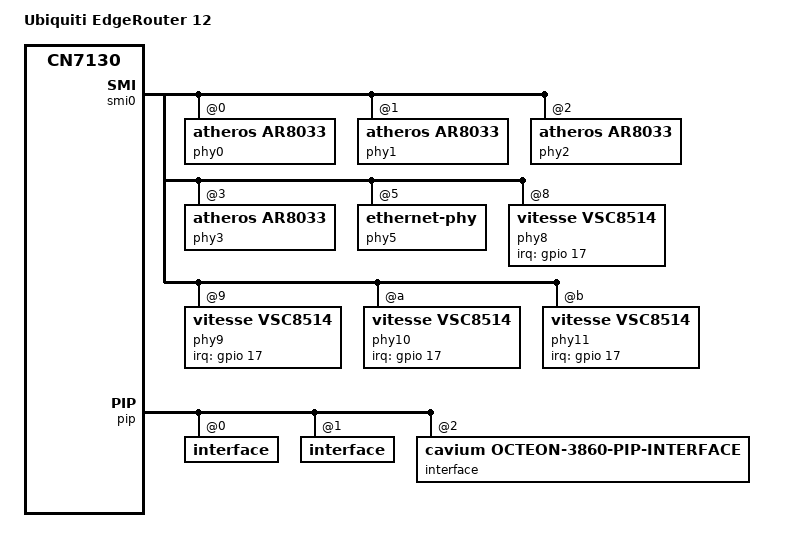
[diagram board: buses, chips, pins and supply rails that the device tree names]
// SPDX-License-Identifier: GPL-2.0-or-later OR MIT

#include "cn7130_ubnt_edgerouter-e300.dtsi"

/ {
	compatible = "ubnt,edgerouter-12", "cavium,cn7130";
	model = "Ubiquiti EdgeRouter 12";
};

&smi0 {
	phy0: ethernet-phy@0 {
		device_type = "ethernet-phy";
		compatible = "atheros,ar8033", "ethernet-phy-ieee802.3-c22";
		cavium,qlm-trim = "6,sgmii";
		reg = <0>;
	};

	phy1: ethernet-phy@1 {
		device_type = "ethernet-phy";
		compatible = "atheros,ar8033", "ethernet-phy-ieee802.3-c22";
		cavium,qlm-trim = "6,sgmii";
		reg = <1>;
	};

	phy2: ethernet-phy@2 {
		device_type = "ethernet-phy";
		compatible = "atheros,ar8033", "ethernet-phy-ieee802.3-c22";
		cavium,qlm-trim = "6,sgmii";
		reg = <2>;
	};

	phy3: ethernet-phy@3 {
		device_type = "ethernet-phy";
		compatible = "atheros,ar8033", "ethernet-phy-ieee802.3-c22";
		cavium,qlm-trim = "6,sgmii";
		reg = <3>;
	};

	phy5: ethernet-phy@5 {
		sfp = <&sfp>;
	};

	phy8: ethernet-phy@8 {
		device_type = "ethernet-phy";
		interrupts = <17 8>;
		interrupt-parent = <&gpio>;
		compatible = "vitesse,vsc8514", "ethernet-phy-ieee802.3-c22";
		reg = <8>;
	};

	phy9: ethernet-phy@9 {
		device_type = "ethernet-phy";
		interrupts = <17 8>;
		interrupt-parent = <&gpio>;
		compatible = "vitesse,vsc8514", "ethernet-phy-ieee802.3-c22";
		reg = <9>;
	};

	phy10: ethernet-phy@10 {
		device_type = "ethernet-phy";
		interrupts = <17 8>;
		interrupt-parent = <&gpio>;
		compatible = "vitesse,vsc8514", "ethernet-phy-ieee802.3-c22";
		reg = <10>;
	};

	phy11: ethernet-phy@11 {
		device_type = "ethernet-phy";
		interrupts = <17 8>;
		interrupt-parent = <&gpio>;
		compatible = "vitesse,vsc8514", "ethernet-phy-ieee802.3-c22";
		reg = <11>;
	};
};

&pip {
	interface@0 {
		ethernet@0 {
			label = "lan10";
			status = "okay";
			phy-mode = "sgmii";
			phy-handle = <&phy4>;
			nvmem-cells = <&macaddr_eeprom_0 0>;
			nvmem-cell-names = "mac-address";
		};

		ethernet@1 {
			label = "lan11";
			status = "okay";
			phy-mode = "sgmii";
			phy-handle = <&phy5>;
			nvmem-cells = <&macaddr_eeprom_0 12>;
			nvmem-cell-names = "mac-address";
		};

		ethernet@2 {
			label = "lan8";
		};

		ethernet@3 {
			label = "lan9";
		};
	};

	interface@1 {
		status = "okay";

		ethernet@0 {
			label = "lan4";
			status = "okay";
			phy-mode = "sgmii";
			cavium,force-link-up;
			nvmem-cells = <&macaddr_eeprom_0 3>;
			nvmem-cell-names = "mac-address";
		};

		ethernet@1 {
			label = "lan5";
			status = "okay";
			phy-mode = "sgmii";
			cavium,force-link-up;
			nvmem-cells = <&macaddr_eeprom_0 4>;
			nvmem-cell-names = "mac-address";
		};

		ethernet@2 {
			label = "lan6";
			status = "okay";
			phy-mode = "sgmii";
			cavium,force-link-up;
			nvmem-cells = <&macaddr_eeprom_0 5>;
			nvmem-cell-names = "mac-address";
		};

		ethernet@3 {
			label = "lan7";
			status = "okay";
			phy-mode = "sgmii";
			cavium,force-link-up;
			nvmem-cells = <&macaddr_eeprom_0 6>;
			nvmem-cell-names = "mac-address";
		};
	};

	interface@2 {
		status = "okay";
		#address-cells = <1>;
		#size-cells = <0>;
		compatible = "cavium,octeon-3860-pip-interface";
		reg = <2>;

		ethernet@0 {
			label = "lan0";
			status = "okay";
			compatible = "cavium,octeon-3860-pip-port";
			reg = <0>;
			phy-mode = "sgmii";
			cavium,force-link-up;
			nvmem-cells = <&macaddr_eeprom_0 7>;
			nvmem-cell-names = "mac-address";
		};

		ethernet@1 {
			label = "lan1";
			status = "okay";
			compatible = "cavium,octeon-3860-pip-port";
			reg = <1>;
			phy-mode = "sgmii";
			cavium,force-link-up;
			nvmem-cells = <&macaddr_eeprom_0 8>;
			nvmem-cell-names = "mac-address";
		};

		ethernet@2 {
			label = "lan2";
			status = "okay";
			compatible = "cavium,octeon-3860-pip-port";
			reg = <2>;
			phy-mode = "sgmii";
			cavium,force-link-up;
			nvmem-cells = <&macaddr_eeprom_0 9>;
			nvmem-cell-names = "mac-address";
		};

		ethernet@3 {
			label = "lan3";
			status = "okay";
			compatible = "cavium,octeon-3860-pip-port";
			reg = <3>;
			phy-mode = "sgmii";
			cavium,force-link-up;
			nvmem-cells = <&macaddr_eeprom_0 10>;
			nvmem-cell-names = "mac-address";
			};
		};
};
